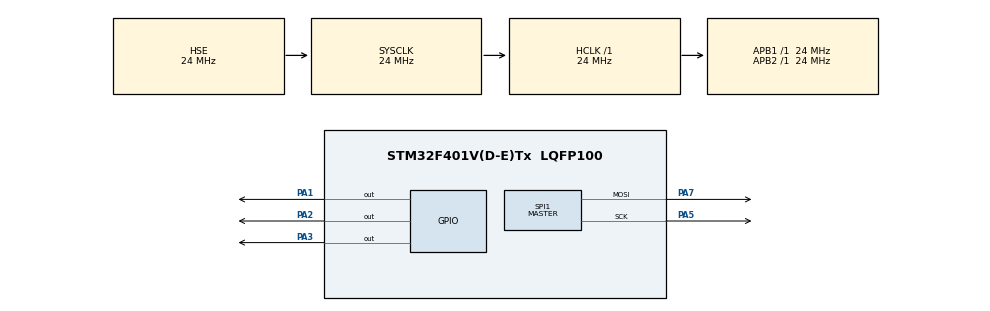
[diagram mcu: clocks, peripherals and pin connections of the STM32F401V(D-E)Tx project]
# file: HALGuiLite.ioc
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Mcu.Family=STM32F4
Mcu.Name=STM32F401V(D-E)Tx
Mcu.Package=LQFP100
NVIC.PriorityGroup=NVIC_PRIORITYGROUP_4
PA1.Signal=GPIO_Output
PA2.Signal=GPIO_Output
PA3.Signal=GPIO_Output
PA5.Mode=TX_Only_Simplex_Unidirect_Master
PA5.Signal=SPI1_SCK
PA7.Mode=TX_Only_Simplex_Unidirect_Master
PA7.Signal=SPI1_MOSI
PH0\ -\ OSC_IN.Mode=HSE-External-Oscillator
PH0\ -\ OSC_IN.Signal=RCC_OSC_IN
PH1\ -\ OSC_OUT.Mode=HSE-External-Oscillator
PH1\ -\ OSC_OUT.Signal=RCC_OSC_OUT
ProjectManager.HeapSize=0x200
ProjectManager.StackSize=0x400
ProjectManager.TargetToolchain=MDK-ARM V5.32
RCC.AHBFreq_Value=24000000
RCC.APB1Freq_Value=24000000
RCC.APB1TimFreq_Value=24000000
RCC.APB2Freq_Value=24000000
RCC.APB2TimFreq_Value=24000000
RCC.CortexFreq_Value=24000000
RCC.HCLKFreq_Value=24000000
RCC.HSE_VALUE=24000000
RCC.HSI_VALUE=16000000
RCC.LSE_VALUE=32768
RCC.SYSCLKFreq_VALUE=24000000
RCC.SYSCLKSource=RCC_SYSCLKSOURCE_HSE
RCC.VCOOutputFreq_Value=192000000
SPI1.BaudRatePrescaler=SPI_BAUDRATEPRESCALER_2
SPI1.Direction=SPI_DIRECTION_2LINES
SPI1.Mode=SPI_MODE_MASTER
SPI1.VirtualType=VM_MASTER
board=custom

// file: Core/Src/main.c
/* USER CODE BEGIN Header */
/**
  ******************************************************************************
  * @file           : main.c
  * @brief          : Main program body
  ******************************************************************************
  * @attention
  *
  * Copyright (c) 2024 STMicroelectronics.
  * All rights reserved.
  *
  * This software is licensed under terms that can be found in the LICENSE file
  * in the root directory of this software component.
  * If no LICENSE file comes with this software, it is provided AS-IS.
  *
  ******************************************************************************
  */
/* USER CODE END Header */
#include "main.h"

/* USER CODE BEGIN Includes */
#include <string.h>
#include <stdarg.h>
#include "ili9341.h"
#include "ili9341_touch.h"
#include "fonts.h"
#include "hanzi.h"
#include "GUI.h"
#include "math.h"
#include <stdio.h>
#include <string.h>
#include "button.h"
//#include "GUI_Window.h"
//#define GUILITE_ON	//Do not define this macro once more!!!
//#include "GuiLite.h"
/* USER CODE BEGIN Includes */
////#include "key.h"
////#include "led.h"
//#include "../../ICore/print/print.h"
//#include "../../ICore/usart/usart.h"
//#include "../../ICore/oled/oled.h"
/* USER CODE END Includes */
/* USER CODE END Includes */

SPI_HandleTypeDef hspi1;

void SystemClock_Config(void);
static void MX_GPIO_Init(void);
static void MX_SPI1_Init(void);

/* USER CODE BEGIN 0 */
/* USER CODE BEGIN 0 */
//Transfer GuiLite 32 bits color to your LCD color
#define GL_RGB_32_to_16(rgb) (((((unsigned int)(rgb)) & 0xFF) >> 3) | ((((unsigned int)(rgb)) & 0xFC00) >> 5) | ((((unsigned int)(rgb)) & 0xF80000) >> 8))
//Encapsulate your LCD driver:
void gfx_draw_pixel(int x, int y, unsigned int rgb)
{
    //LCD_Fast_DrawPoint(x, y, GL_RGB_32_to_16(rgb));//注释参考样例的
	ILI9341_DrawPixel((uint16_t)x, (uint16_t)y, GL_RGB_32_to_16(rgb));//新增本工程支持绘制点函数调用(oled.h)
}
//Implement it, if you have more fast solution than drawing pixels one by one.
//void gfx_fill_rect(int x0, int y0, int x1, int y1, unsigned int rgb){}

//UI entry
struct DISPLAY_DRIVER
{
	void (*draw_pixel)(int x, int y, unsigned int rgb);
	void (*fill_rect)(int x0, int y0, int x1, int y1, unsigned int rgb);
} my_driver;
extern void startHello3D(void* phy_fb, int width, int height, int color_bytes, struct DISPLAY_DRIVER* driver);
/* USER CODE END 0 */
void Display_init() {
    ILI9341_Unselect();
    ILI9341_TouchUnselect();
    ILI9341_Init();
}

void ILI9341_Show_Chinese( uint16_t x, uint16_t y, uint8_t* font, uint8_t size, uint32_t fColor, uint32_t bColor)
{
    uint8_t temp;
	uint16_t y0=y;
	uint8_t csize=(size/8+((size%8)?1:0))*(size);	// 得到字体一个字符对应点阵集所占的字节数
	for(uint8_t t=0; t<csize; t++)
	{
		temp = font[t];
		for(uint8_t t1=0; t1<8; t1++)
		{
			if(temp&0x80)   ILI9341_DrawPixel(x, y, fColor);
            else            ILI9341_DrawPixel(x, y, bColor);
			temp<<=1;
			y++;
			if((y-y0)==size)
			{
				y=y0;
				x++;
				break;
			}
		}
	}
}
void ShowColorBar(void)
 {
     int x0 = 60, y0 = 40, yStep = 15, i;
     int NumColors = LCD_GetDevCap(LCD_DEVCAP_NUMCOLORS);
     int xsize = LCD_GetDevCap(LCD_DEVCAP_XSIZE) - x0;
     GUI_SetFont(&GUI_Font13HB_1);
     GUI_DispStringHCenterAt("μC/GUI-sample:Show color bars", 160, 0);
     GUI_SetFont(&GUI_Font8x8);
     GUI_SetColor(GUI_WHITE);
     GUI_SetBkColor(GUI_BLACK);
     #if(LCD_FIXEDPALETTE)
         GUI_DispString("Fixed palette: ");
         GUI_DispDecMin(LCD_FIXEDPALETTE);
     #endif
     GUI_DispStringAt("Red", 0, y0 + yStep);
     GUI_DispStringAt("Green", 0, y0 + 3 * yStep);
     GUI_DispStringAt("Blue", 0, y0 + 5 * yStep);
     GUI_DispStringAt("Grey", 0, y0 + 6 * yStep);
     GUI_DispStringAt("Yellow", 0, y0 + 8 * yStep);
     GUI_DispStringAt("Cyan", 0, y0 + 10 * yStep);
     GUI_DispStringAt("Magenta", 0, y0 + 12 * yStep);
     for(i=0; i < xsize; i++)
     {
         U16 cs =(255 *(U32)i) / xsize;
         U16 x = x0 + i;
         /* 红色 */
         GUI_SetColor(cs);
         GUI_DrawVLine(x, y0, y0 +yStep - 1);
         GUI_SetColor(0xff +(255 - cs) * 0x10100L);
         GUI_DrawVLine(x, y0 +yStep, y0 + 2 * yStep - 1);
         /* 绿色 */
         GUI_SetColor(cs<<8);
         GUI_DrawVLine(x, y0 + 2 * yStep, y0 + 3 * yStep - 1);
         GUI_SetColor(0xff00 +(255 - cs) * 0x10001L);
         GUI_DrawVLine(x, y0 + 3 * yStep, y0 + 4 * yStep - 1);
         /* 蓝色 */
         GUI_SetColor(cs * 0x10000L);
         GUI_DrawVLine(x, y0 + 4 * yStep, y0 + 5 * yStep - 1);
         GUI_SetColor(0xff0000 +(255 - cs) * 0x101L);
         GUI_DrawVLine(x, y0 + 5 * yStep, y0 + 6 * yStep - 1);
         /* 灰色 */
         GUI_SetColor((U32)cs * 0x10101L);
         GUI_DrawVLine(x, y0 + 6 * yStep, y0 + 7 * yStep - 1);
         /* 黄色 */
         GUI_SetColor(cs * 0x101);
         GUI_DrawVLine(x, y0 + 7 * yStep, y0 + 8 * yStep - 1);
         GUI_SetColor(0xffff +(255 - cs) * 0x10000L);
         GUI_DrawVLine(x, y0 + 8 * yStep, y0 + 9 * yStep - 1);
         /* 青色 */
         GUI_SetColor(cs * 0x10100L);
         GUI_DrawVLine(x, y0 + 9 * yStep, y0 + 10 * yStep - 1);
         GUI_SetColor(0xffff00 +(255 - cs) * 0x1L);
         GUI_DrawVLine(x, y0 + 10 * yStep, y0 + 11 * yStep - 1);
         /* 洋红 */
         GUI_SetColor(cs * 0x10001);
         GUI_DrawVLine(x, y0 + 11 * yStep, y0 + 12 * yStep - 1);
         GUI_SetColor(0xff00ff +(255 - cs) * 0x100L);
         GUI_DrawVLine(x, y0 + 12 * yStep, y0 + 13 * yStep - 1);
     }
 }

/* USER CODE END 0 */

int main(void)
{

  /* USER CODE BEGIN 1 */
   BUTTON_Handle hButton;//按钮句柄
  /* USER CODE END 1 */

  /* MCU Configuration--------------------------------------------------------*/

  /* Reset of all peripherals, Initializes the Flash interface and the Systick. */
  HAL_Init();
  /* Configure the system clock */
  SystemClock_Config();
  /* Initialize all configured peripherals */
  MX_GPIO_Init();
  MX_SPI1_Init();
  /* USER CODE BEGIN 2 */
  Display_init();
	//ILI9341_FillScreen(ILI9341_CYAN);
	GUI_Init();//GUI初始化
		GUI_SetBkColor(GUI_CYAN); // 背景颜色
	GUI_SetColor(GUI_RED);     // 画笔颜色
	GUI_Clear();               // 清屏
	 ShowColorBar();
  /* USER CODE END 2 */

  /* Infinite loop */
  while (1)
  {

  }
}

void SystemClock_Config(void)
{
  RCC_OscInitTypeDef RCC_OscInitStruct = {0};
  RCC_ClkInitTypeDef RCC_ClkInitStruct = {0};

  /** Configure the main internal regulator output voltage
  */
  __HAL_RCC_PWR_CLK_ENABLE();
  __HAL_PWR_VOLTAGESCALING_CONFIG(PWR_REGULATOR_VOLTAGE_SCALE2);

  /** Initializes the RCC Oscillators according to the specified parameters
  * in the RCC_OscInitTypeDef structure.
  */
  RCC_OscInitStruct.OscillatorType = RCC_OSCILLATORTYPE_HSE;
  RCC_OscInitStruct.HSEState = RCC_HSE_ON;
  RCC_OscInitStruct.PLL.PLLState = RCC_PLL_NONE;
  if (HAL_RCC_OscConfig(&RCC_OscInitStruct) != HAL_OK)
  {
    Error_Handler();
  }

  /** Initializes the CPU, AHB and APB buses clocks
  */
  RCC_ClkInitStruct.ClockType = RCC_CLOCKTYPE_HCLK|RCC_CLOCKTYPE_SYSCLK
                              |RCC_CLOCKTYPE_PCLK1|RCC_CLOCKTYPE_PCLK2;
  RCC_ClkInitStruct.SYSCLKSource = RCC_SYSCLKSOURCE_HSE;
  RCC_ClkInitStruct.AHBCLKDivider = RCC_SYSCLK_DIV1;
  RCC_ClkInitStruct.APB1CLKDivider = RCC_HCLK_DIV1;
  RCC_ClkInitStruct.APB2CLKDivider = RCC_HCLK_DIV1;

  if (HAL_RCC_ClockConfig(&RCC_ClkInitStruct, FLASH_LATENCY_0) != HAL_OK)
  {
    Error_Handler();
  }
}

static void MX_SPI1_Init(void)
{

  /* SPI1 parameter configuration*/
  hspi1.Instance = SPI1;
  hspi1.Init.Mode = SPI_MODE_MASTER;
  hspi1.Init.Direction = SPI_DIRECTION_2LINES;
  hspi1.Init.DataSize = SPI_DATASIZE_8BIT;
  hspi1.Init.CLKPolarity = SPI_POLARITY_LOW;
  hspi1.Init.CLKPhase = SPI_PHASE_1EDGE;
  hspi1.Init.NSS = SPI_NSS_SOFT;
  hspi1.Init.BaudRatePrescaler = SPI_BAUDRATEPRESCALER_2;
  hspi1.Init.FirstBit = SPI_FIRSTBIT_MSB;
  hspi1.Init.TIMode = SPI_TIMODE_DISABLE;
  hspi1.Init.CRCCalculation = SPI_CRCCALCULATION_DISABLE;
  hspi1.Init.CRCPolynomial = 10;
  if (HAL_SPI_Init(&hspi1) != HAL_OK)
  {
    Error_Handler();
  }

}

static void MX_GPIO_Init(void)
{
  GPIO_InitTypeDef GPIO_InitStruct = {0};

  /* GPIO Ports Clock Enable */
  __HAL_RCC_GPIOH_CLK_ENABLE();
  __HAL_RCC_GPIOA_CLK_ENABLE();

  /*Configure GPIO pin Output Level */
  HAL_GPIO_WritePin(GPIOA, GPIO_PIN_1|GPIO_PIN_2|GPIO_PIN_3, GPIO_PIN_RESET);

  /*Configure GPIO pins : PA1 PA2 PA3 */
  GPIO_InitStruct.Pin = GPIO_PIN_1|GPIO_PIN_2|GPIO_PIN_3;
  GPIO_InitStruct.Mode = GPIO_MODE_OUTPUT_PP;
  GPIO_InitStruct.Pull = GPIO_NOPULL;
  GPIO_InitStruct.Speed = GPIO_SPEED_FREQ_LOW;
  HAL_GPIO_Init(GPIOA, &GPIO_InitStruct);

}

void Error_Handler(void)
{
  __disable_irq();
  while (1)
  {
  }
}
